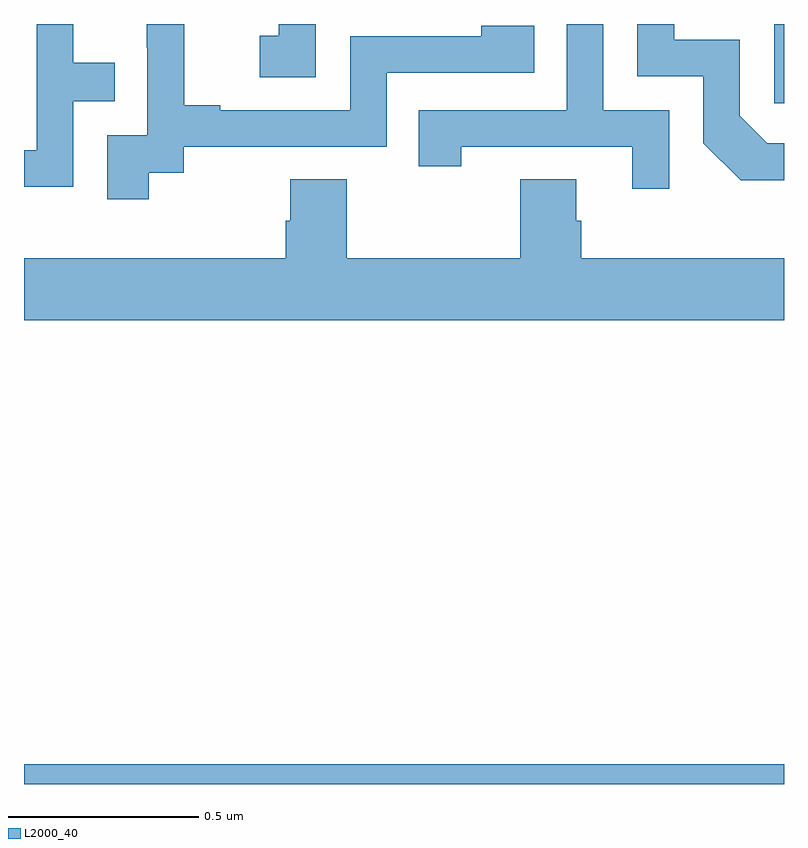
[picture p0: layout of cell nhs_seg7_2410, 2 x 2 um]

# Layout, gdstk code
import gdstk
lib = gdstk.Library(unit=1e-6, precision=1e-09)
def R(c, l, rs):  # rectangles x0, y0, x1, y1
    for r in rs: c.add(gdstk.rectangle(r[:2], r[2:], *l))
def P(c, l, *ps):  # polygons
    for p in ps: c.add(gdstk.Polygon(p, *l))
L2000_40 = (2000, 40)

nhs_seg7_2410 = lib.new_cell('nhs_seg7_2410')
R(nhs_seg7_2410, L2000_40, [(144,1062,146,1062.052), (145.974,1063.791,146,1064)])
P(nhs_seg7_2410, L2000_40, [(144.129,1063.797),(144.239,1063.797),(144.239,1063.898),(144.129,1063.898),(144.129,1064),(144.033,1064),(144.033,1063.668),(144,1063.668),(144,1063.572),(144.129,1063.572)],
  [(144.328,1063.609),(144.42,1063.609),(144.42,1063.677),(144.954,1063.677),(144.954,1063.872),(145.343,1063.872),(145.343,1063.995),(145.203,1063.995),(145.203,1063.968),(144.858,1063.968),(144.858,1063.773),(144.517,1063.773),(144.517,1063.786),(144.422,1063.786),(144.422,1064),(144.323,1064),(144.323,1063.937),(144.324,1063.937),(144.324,1063.707),(144.219,1063.707),(144.219,1063.539),(144.328,1063.539)],
  [(146,1063.686),(145.956,1063.686),(145.884,1063.758),(145.884,1063.959),(145.711,1063.959),(145.711,1064),(145.614,1064),(145.614,1063.863),(145.788,1063.863),(145.788,1063.686),(145.886,1063.589),(146,1063.589)],
  [(144.768,1064),(144.67,1064),(144.67,1063.969),(144.621,1063.969),(144.621,1063.86),(144.768,1063.86)],
  [(145.698,1063.773),(145.524,1063.773),(145.524,1064),(145.428,1064),(145.428,1063.773),(145.039,1063.773),(145.039,1063.626),(145.15,1063.626),(145.15,1063.677),(145.601,1063.677),(145.601,1063.566),(145.698,1063.566)],
  [(146,1063.384),(145.466,1063.384),(145.466,1063.482),(145.453,1063.482),(145.453,1063.592),(145.306,1063.592),(145.306,1063.384),(144.849,1063.384),(144.849,1063.592),(144.701,1063.592),(144.701,1063.482),(144.689,1063.482),(144.689,1063.384),(144,1063.384),(144,1063.22),(146,1063.22)])

lib.write_gds('nhs_seg7_2410.gds')
